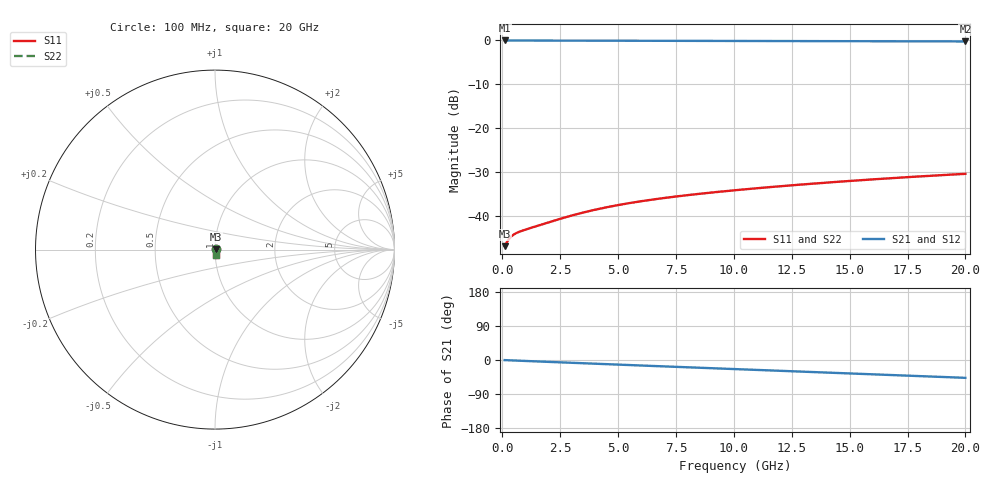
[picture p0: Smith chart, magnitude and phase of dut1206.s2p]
! Touchstone file exported from HFSS 2026.1.0
!  File:  C:/ffzhzh/LocalFiles/Ansys_Project_Files/temp_train_BSMRDL_1206_1783176569_55132.aedt
!  Generated:  10:50:43 PM Jul  4, 2026
!  Design:  BSMRDL
!  Project:  temp_train_BSMRDL_1206_1783176569_55132
! Variables:
!  h_bsmrdl = 5.46um
!  h_ox = 20um
!  h_rdl = 5um
!  h_sub = 80um
!  h_tmrdl = 5um
!  h_tsv = 80um
!  h_via = 3um
!  l_bsmrdl = 867.15um
!  l_sub = 1267.15um
!  l_tmrdl = 200um
!  m_sub = 200um
!  pitch = 17.07um
!  r_tsv = 6um
!  s_tmrdl = 10um
!  w_bsmrdl = 12.94um
!  w_sub = 500um
!  w_tmrdl = 12um
!  x_tsv_center1 = 206um
!  x_tsv_center2 = 1086.09um
!  x_tsv_center3 = 1298.09um
!  x_tsv_center4 = 2178.18um
!  x_tsv_center5 = 2390.18um
!  x_tsv_center6 = 3270.27um
# GHz S MA R 50.000000
! Terminal data exported
! Port[1] = BSM_RDL1_1_T1
! Port[2] = BSM_RDL1_1_T2
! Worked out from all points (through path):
!   200 points, 100 MHz to 20 GHz, reference 50 ohm
!   highest |S21| = -0.04 dB at 100 MHz (marker M1); lowest = -0.3 dB at 20 GHz (marker M2)
!   group delay of S21, straight-line fit = 6.5 ps
!   lowest |S11| = -46.8 dB at 100 MHz (marker M3), VSWR 1.01, Z = 50.5 + j0.0752 ohm
!   |S11| at or under -10 dB: start of sweep to end of sweep
!   |S22| runs from -46.8 to -30.5 dB; largest |S21 - S12| = 6.3e-15
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0.1  0.004583 9.4  0.9955 -0.3  0.9955 -0.3  0.004583 9.4
! Gamma 0 0 0 0
! Port Impedance 50 0 50 0
0.2  0.005097 14.2  0.9951 -0.6  0.9951 -0.6  0.005097 14.2
0.3  0.005581 15.6  0.9946 -0.8  0.9946 -0.8  0.005581 15.6
0.4  0.005952 15.8  0.9943 -1.1  0.9943 -1.1  0.005952 15.8
0.5  0.006228 15.6  0.994 -1.3  0.994 -1.3  0.006229 15.6
0.7  0.006622 15.4  0.9937 -1.8  0.9937 -1.8  0.006623 15.4
1.1  0.007205 15.7  0.9931 -2.8  0.9931 -2.8  0.007204 15.7
2.3  0.009038 15.7  0.9916 -5.7  0.9916 -5.7  0.009031 15.7
2.9  0.01005 13.8  0.9906 -7.2  0.9906 -7.2  0.01003 13.8
3.5  0.01106 11.0  0.9895 -8.6  0.9895 -8.6  0.01104 11.1
4.2  0.0122 7.1  0.9883 -10.3  0.9883 -10.3  0.01217 7.1
5  0.01343 2.0  0.9869 -12.2  0.9869 -12.2  0.01339 2.0
5.9  0.01472 -4.0  0.9854 -14.3  0.9854 -14.3  0.01466 -3.9
6.8  0.01592 -10.0  0.984 -16.4  0.984 -16.4  0.01584 -9.9
8.3  0.01777 -19.6  0.9819 -20.0  0.9819 -20.0  0.01766 -19.6
10.1  0.01985 -30.4  0.9797 -24.1  0.9797 -24.1  0.01969 -30.4
11.7  0.02164 -39.2  0.978 -27.9  0.978 -27.9  0.02143 -39.3
13.4  0.0235 -48.0  0.9763 -31.8  0.9763 -31.8  0.02324 -48.1
15  0.02524 -55.6  0.9748 -35.5  0.9748 -35.5  0.02491 -55.9
16.7  0.02704 -63.3  0.9732 -39.4  0.9732 -39.4  0.02665 -63.6
18.4  0.0288 -70.5  0.9717 -43.4  0.9717 -43.4  0.02835 -70.9
20  0.0304 -76.9  0.9704 -47.1  0.9704 -47.1  0.02988 -77.4
